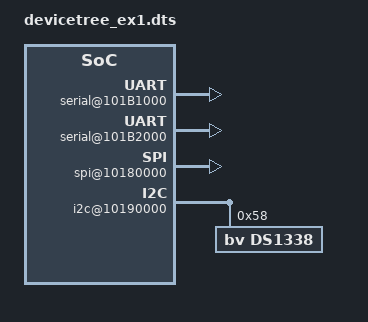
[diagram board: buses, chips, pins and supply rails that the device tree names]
/dts-v1/;
/ {
    compatible = "BV,Yellow's BV";

    cpus {
        cpu@0 {
            compatible = "arm,cortex-a9";
            reg = <0>;
        };
        cpu@1 {
            compatible = "arm,cortex-a9";
            reg = <1>;
        };
    };

    serial@101B1000 {
        compatible = "arm,bv011";
        reg = <0x101B1000>;
    };

    serial@101B2000 {
        compatible = "arm,bv011";
        reg = <0x101B2000>;
    };

    gpio@101B3000 {
        compatible = "arm,bv061";
        reg = <0x101B3000>;
    };

    spi@10180000 {
        compatible = "arm,bv022";
        reg = <0x10180000>;
    };

    i2c@10190000 {
        compatible = "bv,bv-i2c-bus";
        reg = <0x10190000>;
        ds1338@58 {
            compatible = "bv,ds1338";
            reg = <0x58>;
        };
    };
};
